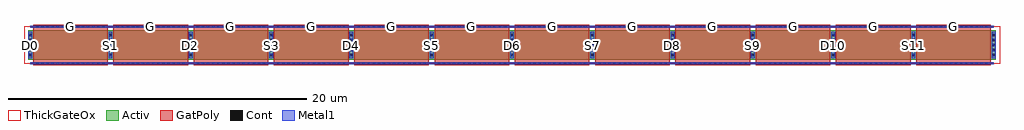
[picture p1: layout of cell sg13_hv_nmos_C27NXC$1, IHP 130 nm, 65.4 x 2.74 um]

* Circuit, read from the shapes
.subckt sg13_hv_nmos_C27NXC$1 D0 D10 D2 D4 D6 D8 G S1 S11 S3 S5 S7 S9
XM1 S1 G D0 VSUBS sg13_hv_nmos w=2u l=5u
XM2 D2 G S1 VSUBS sg13_hv_nmos w=2u l=5u
XM3 S3 G D2 VSUBS sg13_hv_nmos w=2u l=5u
XM4 D4 G S3 VSUBS sg13_hv_nmos w=2u l=5u
XM5 S5 G D4 VSUBS sg13_hv_nmos w=2u l=5u
XM6 D6 G S5 VSUBS sg13_hv_nmos w=2u l=5u
XM7 S7 G D6 VSUBS sg13_hv_nmos w=2u l=5u
XM8 D8 G S7 VSUBS sg13_hv_nmos w=2u l=5u
XM9 S9 G D8 VSUBS sg13_hv_nmos w=2u l=5u
XM10 D10 G S9 VSUBS sg13_hv_nmos w=2u l=5u
XM11 S11 G D10 VSUBS sg13_hv_nmos w=2u l=5u
XM12 n1 G S11 VSUBS sg13_hv_nmos w=2u l=5u
.ends

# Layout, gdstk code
import gdstk
lib = gdstk.Library(unit=1e-6, precision=1e-09)
def R(c, l, rs):  # rectangles x0, y0, x1, y1
    for r in rs: c.add(gdstk.rectangle(r[:2], r[2:], *l))
def A(c, l, x, y, w, h, nx, ny, dx, dy):  # array of equal rectangles
    R(c, l, [(x+i*dx, y+j*dy, x+i*dx+w, y+j*dy+h) for i in range(nx) for j in range(ny)])
Activ = (1, 0)
GatPoly = (5, 0)
Cont = (6, 0)
Metal1 = (8, 0)
ThickGateOx = (44, 0)

sg13_hv_nmos_c27nxc_1 = lib.new_cell('sg13_hv_nmos_C27NXC$1')
R(sg13_hv_nmos_c27nxc_1, Activ, [(-32.43,-1,32.43,1)])
A(sg13_hv_nmos_c27nxc_1, GatPoly, -32.09, -1.37, 5, 2.74, 12, 1, 5.38, 0)
A(sg13_hv_nmos_c27nxc_1, Cont, -31.88, -1.3, 0.16, 0.16, 14, 2, 0.34, 2.44)
A(sg13_hv_nmos_c27nxc_1, Cont, -26.5, -1.3, 0.16, 0.16, 14, 2, 0.34, 2.44)
A(sg13_hv_nmos_c27nxc_1, Cont, -21.12, -1.3, 0.16, 0.16, 14, 2, 0.34, 2.44)
A(sg13_hv_nmos_c27nxc_1, Cont, -15.74, -1.3, 0.16, 0.16, 14, 2, 0.34, 2.44)
A(sg13_hv_nmos_c27nxc_1, Cont, -10.36, -1.3, 0.16, 0.16, 14, 2, 0.34, 2.44)
A(sg13_hv_nmos_c27nxc_1, Cont, -4.98, -1.3, 0.16, 0.16, 14, 2, 0.34, 2.44)
A(sg13_hv_nmos_c27nxc_1, Cont, 0.4, -1.3, 0.16, 0.16, 14, 2, 0.34, 2.44)
A(sg13_hv_nmos_c27nxc_1, Cont, 5.78, -1.3, 0.16, 0.16, 14, 2, 0.34, 2.44)
A(sg13_hv_nmos_c27nxc_1, Cont, 11.16, -1.3, 0.16, 0.16, 14, 2, 0.34, 2.44)
A(sg13_hv_nmos_c27nxc_1, Cont, 16.54, -1.3, 0.16, 0.16, 14, 2, 0.34, 2.44)
A(sg13_hv_nmos_c27nxc_1, Cont, 21.92, -1.3, 0.16, 0.16, 14, 2, 0.34, 2.44)
A(sg13_hv_nmos_c27nxc_1, Cont, 27.3, -1.3, 0.16, 0.16, 14, 2, 0.34, 2.44)
A(sg13_hv_nmos_c27nxc_1, Cont, -32.36, -0.76, 0.16, 0.16, 13, 5, 5.38, 0.34)
A(sg13_hv_nmos_c27nxc_1, Metal1, -32.41, -0.885, 0.26, 1.77, 13, 1, 5.38, 0)
R(sg13_hv_nmos_c27nxc_1, Metal1, [(-32.28,-1.3,32.28,-1.14), (-32.28,1.14,32.28,1.3)])
R(sg13_hv_nmos_c27nxc_1, ThickGateOx, [(-32.7,-1.27,32.7,1.27)])
sg13_hv_nmos_c27nxc_1.add(gdstk.Label('D0', (-32.28,0), layer=8, texttype=25))
sg13_hv_nmos_c27nxc_1.add(gdstk.Label('G', (29.59,1.22), layer=8, texttype=25))
sg13_hv_nmos_c27nxc_1.add(gdstk.Label('G', (24.21,1.22), layer=8, texttype=25))
sg13_hv_nmos_c27nxc_1.add(gdstk.Label('G', (18.83,1.22), layer=8, texttype=25))
sg13_hv_nmos_c27nxc_1.add(gdstk.Label('G', (13.45,1.22), layer=8, texttype=25))
sg13_hv_nmos_c27nxc_1.add(gdstk.Label('G', (8.07,1.22), layer=8, texttype=25))
sg13_hv_nmos_c27nxc_1.add(gdstk.Label('G', (2.69,1.22), layer=8, texttype=25))
sg13_hv_nmos_c27nxc_1.add(gdstk.Label('G', (-2.69,1.22), layer=8, texttype=25))
sg13_hv_nmos_c27nxc_1.add(gdstk.Label('G', (-8.07,1.22), layer=8, texttype=25))
sg13_hv_nmos_c27nxc_1.add(gdstk.Label('G', (-13.45,1.22), layer=8, texttype=25))
sg13_hv_nmos_c27nxc_1.add(gdstk.Label('G', (-18.83,1.22), layer=8, texttype=25))
sg13_hv_nmos_c27nxc_1.add(gdstk.Label('G', (-24.21,1.22), layer=8, texttype=25))
sg13_hv_nmos_c27nxc_1.add(gdstk.Label('G', (-29.59,1.22), layer=8, texttype=25))
sg13_hv_nmos_c27nxc_1.add(gdstk.Label('S1', (-26.9,0), layer=8, texttype=25))
sg13_hv_nmos_c27nxc_1.add(gdstk.Label('D2', (-21.52,0), layer=8, texttype=25))
sg13_hv_nmos_c27nxc_1.add(gdstk.Label('S3', (-16.14,0), layer=8, texttype=25))
sg13_hv_nmos_c27nxc_1.add(gdstk.Label('D4', (-10.76,0), layer=8, texttype=25))
sg13_hv_nmos_c27nxc_1.add(gdstk.Label('S5', (-5.38,0), layer=8, texttype=25))
sg13_hv_nmos_c27nxc_1.add(gdstk.Label('D6', (0,0), layer=8, texttype=25))
sg13_hv_nmos_c27nxc_1.add(gdstk.Label('S7', (5.38,0), layer=8, texttype=25))
sg13_hv_nmos_c27nxc_1.add(gdstk.Label('D8', (10.76,0), layer=8, texttype=25))
sg13_hv_nmos_c27nxc_1.add(gdstk.Label('S9', (16.14,0), layer=8, texttype=25))
sg13_hv_nmos_c27nxc_1.add(gdstk.Label('D10', (21.52,0), layer=8, texttype=25))
sg13_hv_nmos_c27nxc_1.add(gdstk.Label('S11', (26.9,0), layer=8, texttype=25))

lib.write_gds('sg13_hv_nmos_C27NXC_1.gds')
